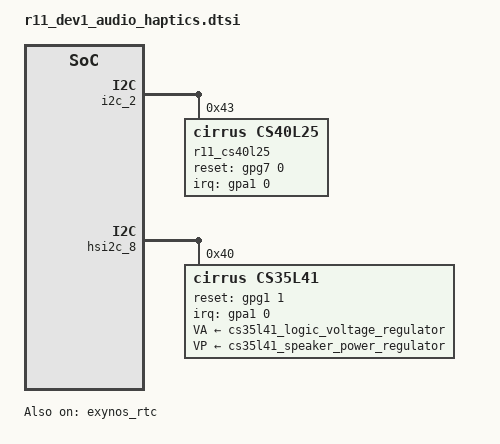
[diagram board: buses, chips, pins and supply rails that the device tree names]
/*
 * Device Tree config for the CS40L25 chip - Haptics actuator
 */

#include <dt-bindings/pinctrl/samsung.h>

&gpa1 {
	#interrupt-cells = <2>;
};

&pinctrl_0 {
	pinctrl-names = "default";
	// IRQ pin is shared between haptics and smart amp and the pinctrl framework
	// does not allow for multiple drivers to own a pin via pinctrl-0, thus the
	// ownership is given directly to pinctrl_0. This will hog the pin as soon as
	// pinmux gets initialized.
	pinctrl-0 = <&audio_haptics_irq>;

	// IRQ pin is shared between haptics and audio
	audio_haptics_irq: audio_haptics-irq {
		// gpio8
		samsung,pins = "gpa1-0";
		samsung,pin-function = <EXYNOS_PIN_FUNC_INPUT>;
		samsung,pin-pud = <EXYNOS_PIN_PULL_UP>;
	};

	haptics_refclk: haptics-refclk {
		samsung,pins = "gpa1-2";
		samsung,pin-function = <EXYNOS_PIN_FUNC_2>;
		samsung,pin-pud = <EXYNOS_PIN_PULL_NONE>;
	};
};

&pinctrl_5 {
	// GPIO 95
	smart_amp_rst: smart_amp-rst {
		samsung,pins = "gpg1-1";
		samsung,pin-function = <EXYNOS_PIN_FUNC_OUTPUT>;
		samsung,pin-pud = <EXYNOS_PIN_PULL_NONE>;
	};

	// GPIO 106
	haptics_rst: haptics-rst {
		samsung,pins = "gpg7-0";
		samsung,pin-function = <EXYNOS_PIN_FUNC_OUTPUT>;
		samsung,pin-pud = <EXYNOS_PIN_PULL_NONE>;
	};
};

// Used to generate 32kHz reference clock for haptics and BT/Wifi devices
&exynos_rtc {
	status = "ok";
	pinctrl-names = "default";
	pinctrl-0 = <&haptics_refclk>;
};

&i2c_2 {
	#address-cells = <1>;
	#size-cells = <0>;
	status = "ok";

	r11_cs40l25: cs40l25@43 {
		compatible = "cirrus,cs40l25";
		pinctrl-names = "default";
		pinctrl-0 = <&haptics_rst>;
		reset-gpios = <&gpg7 0 GPIO_ACTIVE_HIGH>;
		reg = <0x43>;
		interrupts-extended = <&gpa1 0 IRQ_TYPE_LEVEL_LOW>;

		cirrus,boost-ind-nanohenry = <1000>;
		cirrus,boost-cap-microfarad = <4>;
		cirrus,boost-ipk-milliamp = <4500>;
		cirrus,boost-ctl-millivolt = <5000>; /* 5V */
		cirrus,boost-ovp-millivolt = <9000>; /* 9V */

		cirrus,f0-default = <2514000>; /* 153 Hz */
		cirrus,redc-default = <327728>; /* 15 Ohm */

		cirrus,refclk-gpio2;

		cirrus,asp-fmt = <0>;
		cirrus,asp-bclk-freq-hz = <3072000>;
		cirrus,asp-slot-num = <2>;
		cirrus,asp-slot-width = <16>;
		cirrus,asp-samp-width = <16>;
		cirrus,fw-id-remap = <0x1400CB>;
		status = "ok";
	};
};

&hsi2c_8 {
	#address-cells = <1>;
	#size-cells = <0>;
	status = "ok";

	cs35l41: cs35l41@40 {
		compatible = "cirrus,cs35l41", "cirrus,cs35l40";
		reg = <0x40>;
		VA-supply = <&cs35l41_logic_voltage_regulator>;
		VP-supply = <&cs35l41_speaker_power_regulator>;

		pinctrl-names = "default";
		pinctrl-0 = <&smart_amp_rst>;
		reset-gpios = <&gpg1 1 GPIO_ACTIVE_HIGH>;
		interrupts-extended = <&gpa1 0 IRQ_TYPE_LEVEL_LOW>;

		cirrus,boost-peak-milliamp = <1600>;
		cirrus,boost-ind-nanohenry = <1000>;
		cirrus,boost-cap-microfarad = <30>;
		cirrus,boost-ctl-millivolt = <5500>;

		// Mode 3: Hi-Z during unused slots and while all transmit channels disabled
		cirrus,asp-sdout-hiz = <3>;

		// GPIO/INT pin configuration
		cirrus,gpio-config2 {
			// Mode 2: Open Drain INTB
			cirrus,gpio-src-select = <2>;
		};
	};
};

